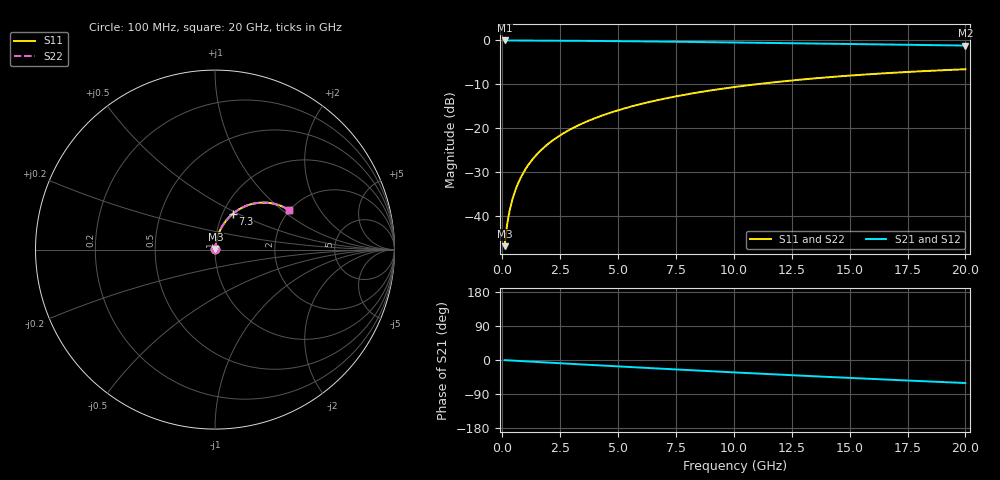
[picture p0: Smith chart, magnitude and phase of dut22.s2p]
! Touchstone file exported from HFSS 2026.1.0
!  File:  C:/ffzhzh/LocalFiles/Ansys_Project_Files/temp_train_BSMRDL_22_1782882068_43084.aedt
!  Generated:  01:02:31 PM Jul  1, 2026
!  Design:  BSMRDL
!  Project:  temp_train_BSMRDL_22_1782882068_43084
! Variables:
!  h_bsmrdl = 5.32um
!  h_ox = 20um
!  h_rdl = 5um
!  h_sub = 80um
!  h_tmrdl = 5um
!  h_tsv = 80um
!  h_via = 3um
!  l_bsmrdl = 969.31um
!  l_sub = 1369.31um
!  l_tmrdl = 200um
!  m_sub = 200um
!  pitch = 58.59um
!  r_tsv = 6um
!  s_tmrdl = 10um
!  w_bsmrdl = 27.39um
!  w_sub = 500um
!  w_tmrdl = 12um
!  x_tsv_center1 = 206um
!  x_tsv_center2 = 1202.7um
!  x_tsv_center3 = 1414.7um
!  x_tsv_center4 = 2411.4um
!  x_tsv_center5 = 2623.4um
!  x_tsv_center6 = 3620.1um
# GHz S MA R 50.000000
! Terminal data exported
! Port[1] = BSM_RDL1_1_T1
! Port[2] = BSM_RDL1_1_T2
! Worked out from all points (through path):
!   200 points, 100 MHz to 20 GHz, reference 50 ohm
!   highest |S21| = -0.02 dB at 100 MHz (marker M1); lowest = -1.2 dB at 20 GHz (marker M2)
!   group delay of S21, straight-line fit = 8.43 ps
!   lowest |S11| = -47.0 dB at 100 MHz (marker M3), VSWR 1.01, Z = 50.3 + j0.365 ohm
!   |S11| at or under -10 dB: start of sweep to 11.02 GHz
!   |S22| runs from -47.0 to -6.6 dB; largest |S21 - S12| = 4.7e-15
!   S11 on the Smith chart (normalised r, x): 100 MHz: 1.01, +0.01; 7.3 GHz: 1.12, +0.47; 20 GHz: 1.99, +1.12
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0.1  0.004468 54.3  0.9974 -0.4  0.9974 -0.4  0.004468 54.3
! Gamma 0 0 0 0
! Port Impedance 50 0 50 0
0.2  0.007629 67.6  0.9972 -0.7  0.9972 -0.7  0.007629 67.6
0.3  0.01084 72.9  0.997 -1.1  0.997 -1.1  0.01084 72.9
0.4  0.01407 75.8  0.9968 -1.4  0.9968 -1.4  0.01407 75.8
0.5  0.01732 77.6  0.9967 -1.7  0.9967 -1.7  0.01732 77.6
0.7  0.02386 79.5  0.9964 -2.4  0.9964 -2.4  0.02386 79.5
0.8  0.02714 80.0  0.9963 -2.8  0.9963 -2.8  0.02714 80.0
1  0.03372 80.5  0.9959 -3.5  0.9959 -3.5  0.03372 80.5
1.4  0.04685 80.5  0.9951 -4.8  0.9951 -4.8  0.04685 80.5
1.7  0.05665 80.0  0.9943 -5.9  0.9943 -5.9  0.05665 80.0
2  0.06638 79.3  0.9934 -6.9  0.9934 -6.9  0.06638 79.3
2.7  0.08878 77.4  0.991 -9.3  0.991 -9.3  0.08878 77.5
3.5  0.1138 75.1  0.9876 -11.9  0.9876 -11.9  0.1138 75.1
4.2  0.1352 72.9  0.9842 -14.3  0.9842 -14.3  0.1352 72.9
5  0.159 70.5  0.9799 -16.9  0.9799 -16.9  0.159 70.5
6.8  0.2103 64.9  0.969 -22.7  0.969 -22.7  0.2103 65.0
7.3  0.224 63.4  0.9657 -24.3  0.9657 -24.3  0.2239 63.5
8.6  0.2581 59.5  0.9566 -28.4  0.9566 -28.4  0.2581 59.5
10.1  0.2951 55.1  0.9454 -33.0  0.9454 -33.0  0.295 55.1
13.4  0.3664 45.6  0.9196 -42.7  0.9196 -42.7  0.3664 45.6
16.7  0.4239 36.5  0.8944 -52.0  0.8944 -52.0  0.4238 36.6
20  0.4679 27.9  0.8723 -60.8  0.8723 -60.8  0.4679 28.0
